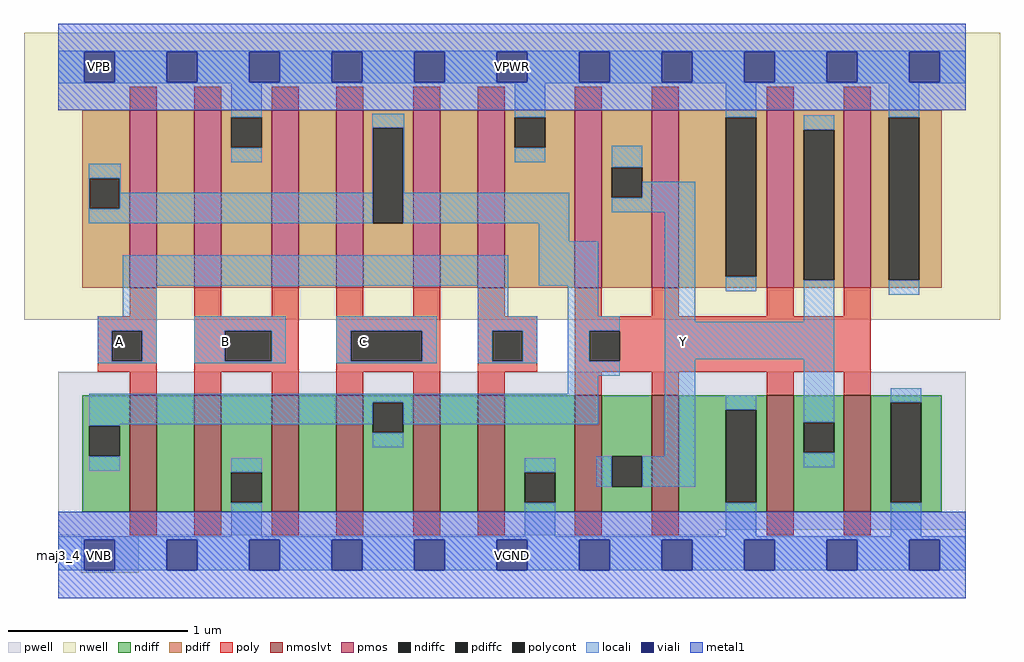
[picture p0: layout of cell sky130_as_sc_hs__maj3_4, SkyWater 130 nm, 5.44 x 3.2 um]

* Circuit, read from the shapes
.subckt sky130_as_sc_hs__maj3_4 VNB VPB VPWR VGND B A C Y
XM1 n1 A n2 VNB sky130_fd_pr__nfet_01v8_lvt w=0.65 l=0.15
XM2 VGND B n1 VNB sky130_fd_pr__nfet_01v8_lvt w=0.65 l=0.15
XM3 n3 B VGND VNB sky130_fd_pr__nfet_01v8_lvt w=0.65 l=0.15
XM4 n2 C n3 VNB sky130_fd_pr__nfet_01v8_lvt w=0.65 l=0.15
XM5 n4 C n2 VNB sky130_fd_pr__nfet_01v8_lvt w=0.65 l=0.15
XM6 VGND A n4 VNB sky130_fd_pr__nfet_01v8_lvt w=0.65 l=0.15
XM7 Y n2 VGND VNB sky130_fd_pr__nfet_01v8_lvt w=0.65 l=0.15 m=4
XM8 n5 A n2 VPB sky130_fd_pr__pfet_01v8 w=0.99 l=0.15
XM9 VPWR B n5 VPB sky130_fd_pr__pfet_01v8 w=0.99 l=0.15
XM10 n6 B VPWR VPB sky130_fd_pr__pfet_01v8 w=0.99 l=0.15
XM11 n2 C n6 VPB sky130_fd_pr__pfet_01v8 w=0.99 l=0.15
XM12 n7 C n2 VPB sky130_fd_pr__pfet_01v8 w=0.99 l=0.15
XM13 VPWR A n7 VPB sky130_fd_pr__pfet_01v8 w=0.99 l=0.15
XM14 Y n2 VPWR VPB sky130_fd_pr__pfet_01v8 w=0.99 l=0.15 m=4
.ends

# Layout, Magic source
magic
tech sky130A
magscale 1 2
<< nwell >>
rect -38 262 1050 582
<< pwell >>
rect 0 28 1012 204
rect 0 22 736 28
rect 790 22 820 24
rect 876 22 906 24
rect 26 -20 90 22
<< pmos >>
rect 80 298 110 496
rect 152 298 182 496
rect 238 298 268 496
rect 310 298 340 496
rect 396 298 426 496
rect 468 298 498 496
rect 576 298 606 496
rect 662 298 692 496
rect 790 298 820 496
rect 876 298 906 496
<< nmoslvt >>
rect 80 48 110 178
rect 152 48 182 178
rect 238 48 268 178
rect 310 48 340 178
rect 396 48 426 178
rect 468 48 498 178
rect 576 48 606 178
rect 662 48 692 178
rect 790 48 820 178
rect 876 48 906 178
<< ndiff >>
rect 27 144 80 178
rect 27 110 35 144
rect 69 110 80 144
rect 27 48 80 110
rect 110 48 152 178
rect 182 92 238 178
rect 182 58 193 92
rect 227 58 238 92
rect 182 48 238 58
rect 268 48 310 178
rect 340 170 396 178
rect 340 136 351 170
rect 385 136 396 170
rect 340 48 396 136
rect 426 48 468 178
rect 498 92 576 178
rect 498 58 520 92
rect 554 58 576 92
rect 498 48 576 58
rect 606 110 662 178
rect 606 76 617 110
rect 651 76 662 110
rect 606 48 662 76
rect 692 162 790 178
rect 692 58 744 162
rect 778 58 790 162
rect 692 48 790 58
rect 820 148 876 178
rect 820 114 831 148
rect 865 114 876 148
rect 820 48 876 114
rect 906 170 985 178
rect 906 58 928 170
rect 962 58 985 170
rect 906 48 985 58
<< pdiff >>
rect 27 420 80 496
rect 27 386 35 420
rect 69 386 80 420
rect 27 298 80 386
rect 110 298 152 496
rect 182 488 238 496
rect 182 454 193 488
rect 227 454 238 488
rect 182 298 238 454
rect 268 298 310 496
rect 340 476 396 496
rect 340 370 351 476
rect 385 370 396 476
rect 340 298 396 370
rect 426 298 468 496
rect 498 488 576 496
rect 498 454 509 488
rect 543 454 576 488
rect 498 298 576 454
rect 606 432 662 496
rect 606 398 617 432
rect 651 398 662 432
rect 606 298 662 398
rect 692 488 790 496
rect 692 310 744 488
rect 778 310 790 488
rect 692 298 790 310
rect 820 474 876 496
rect 820 306 831 474
rect 865 306 876 474
rect 820 298 876 306
rect 906 488 985 496
rect 906 306 926 488
rect 960 306 985 488
rect 906 298 985 306
<< ndiffc >>
rect 35 110 69 144
rect 193 58 227 92
rect 351 136 385 170
rect 520 58 554 92
rect 617 76 651 110
rect 744 58 778 162
rect 831 114 865 148
rect 928 58 962 170
<< pdiffc >>
rect 35 386 69 420
rect 193 454 227 488
rect 351 370 385 476
rect 509 454 543 488
rect 617 398 651 432
rect 744 310 778 488
rect 831 306 865 474
rect 926 306 960 488
<< poly >>
rect 80 496 110 522
rect 152 496 182 522
rect 238 496 268 522
rect 310 496 340 522
rect 396 496 426 522
rect 468 496 498 522
rect 576 496 606 522
rect 662 496 692 522
rect 790 496 820 522
rect 876 496 906 522
rect 80 266 110 298
rect 44 250 110 266
rect 44 216 60 250
rect 94 216 110 250
rect 44 204 110 216
rect 80 178 110 204
rect 152 266 182 298
rect 238 266 268 298
rect 152 250 268 266
rect 152 216 186 250
rect 238 216 268 250
rect 152 204 268 216
rect 152 178 182 204
rect 238 178 268 204
rect 310 266 340 298
rect 396 266 426 298
rect 310 250 426 266
rect 310 216 326 250
rect 406 216 426 250
rect 310 204 426 216
rect 310 178 340 204
rect 396 178 426 204
rect 468 266 498 298
rect 576 266 606 298
rect 662 266 692 298
rect 790 266 820 298
rect 876 266 906 298
rect 468 250 534 266
rect 468 216 484 250
rect 518 216 534 250
rect 468 204 534 216
rect 576 250 906 266
rect 576 216 592 250
rect 626 216 906 250
rect 576 204 906 216
rect 468 178 498 204
rect 576 178 606 204
rect 662 178 692 204
rect 790 178 820 204
rect 876 178 906 204
rect 80 22 110 48
rect 152 22 182 48
rect 238 22 268 48
rect 310 22 340 48
rect 396 22 426 48
rect 468 22 498 48
rect 576 22 606 48
rect 662 22 692 48
rect 790 22 820 48
rect 876 22 906 48
<< polycont >>
rect 60 216 94 250
rect 186 216 238 250
rect 326 216 406 250
rect 484 216 518 250
rect 592 216 626 250
<< locali >>
rect 0 561 1012 562
rect 0 527 29 561
rect 63 527 121 561
rect 155 527 213 561
rect 247 527 305 561
rect 339 527 397 561
rect 431 527 489 561
rect 523 527 581 561
rect 615 527 673 561
rect 707 527 765 561
rect 799 527 857 561
rect 891 527 949 561
rect 983 527 1012 561
rect 0 526 1012 527
rect 193 488 227 526
rect 193 438 227 454
rect 350 476 386 492
rect 34 420 70 436
rect 34 386 35 420
rect 69 404 70 420
rect 350 404 351 476
rect 69 386 351 404
rect 34 370 351 386
rect 385 404 386 476
rect 509 488 543 526
rect 744 488 778 526
rect 509 438 543 454
rect 617 432 651 456
rect 385 370 570 404
rect 651 398 710 416
rect 617 382 710 398
rect 536 350 570 370
rect 72 300 502 334
rect 536 300 602 350
rect 72 266 110 300
rect 468 266 502 300
rect 568 266 602 300
rect 44 250 110 266
rect 44 216 60 250
rect 94 216 110 250
rect 44 214 110 216
rect 152 250 254 266
rect 152 216 186 250
rect 238 216 254 250
rect 152 214 254 216
rect 310 250 422 266
rect 310 216 326 250
rect 406 216 422 250
rect 310 214 422 216
rect 468 250 534 266
rect 468 216 484 250
rect 518 216 534 250
rect 468 214 534 216
rect 568 250 626 266
rect 568 216 592 250
rect 568 200 626 216
rect 676 260 710 382
rect 744 294 778 310
rect 831 474 865 490
rect 831 260 865 306
rect 926 488 960 526
rect 926 290 960 306
rect 676 218 865 260
rect 568 180 602 200
rect 35 170 602 180
rect 35 146 351 170
rect 35 144 69 146
rect 385 146 602 170
rect 351 120 385 136
rect 676 110 710 218
rect 35 94 69 110
rect 193 92 227 108
rect 193 21 227 58
rect 520 92 554 108
rect 600 76 617 110
rect 651 76 710 110
rect 744 162 778 178
rect 520 21 554 58
rect 831 148 865 218
rect 831 98 865 114
rect 928 170 962 186
rect 744 21 778 58
rect 928 21 962 58
rect 0 17 1012 21
rect 0 -17 29 17
rect 63 -17 121 17
rect 155 -17 213 17
rect 247 -17 305 17
rect 339 -17 397 17
rect 431 -17 489 17
rect 523 -17 581 17
rect 615 -17 673 17
rect 707 -17 765 17
rect 799 -17 857 17
rect 891 -17 949 17
rect 983 -17 1012 17
<< viali >>
rect 29 527 63 561
rect 121 527 155 561
rect 213 527 247 561
rect 305 527 339 561
rect 397 527 431 561
rect 489 527 523 561
rect 581 527 615 561
rect 673 527 707 561
rect 765 527 799 561
rect 857 527 891 561
rect 949 527 983 561
rect 29 -17 63 17
rect 121 -17 155 17
rect 213 -17 247 17
rect 305 -17 339 17
rect 397 -17 431 17
rect 489 -17 523 17
rect 581 -17 615 17
rect 673 -17 707 17
rect 765 -17 799 17
rect 857 -17 891 17
rect 949 -17 983 17
<< metal1 >>
rect 0 561 1012 592
rect 0 527 29 561
rect 63 527 121 561
rect 155 527 213 561
rect 247 527 305 561
rect 339 527 397 561
rect 431 527 489 561
rect 523 527 581 561
rect 615 527 673 561
rect 707 527 765 561
rect 799 527 857 561
rect 891 527 949 561
rect 983 527 1012 561
rect 0 496 1012 527
rect 0 17 1012 48
rect 0 -17 29 17
rect 63 -17 121 17
rect 155 -17 213 17
rect 247 -17 305 17
rect 339 -17 397 17
rect 431 -17 489 17
rect 523 -17 581 17
rect 615 -17 673 17
rect 707 -17 765 17
rect 799 -17 857 17
rect 891 -17 949 17
rect 983 -17 1012 17
rect 0 -48 1012 -17
<< labels >>
rlabel comment s 0 0 0 0 4 maj3_4
flabel pwell s 29 -17 63 17 0 FreeSans 200 0 0 0 VNB
port 1 nsew ground bidirectional
flabel pwell s 46 0 46 0 0 FreeSans 200 0 0 0 VNB
flabel nwell s 29 527 63 561 0 FreeSans 200 0 0 0 VPB
port 2 nsew power bidirectional
flabel nwell s 46 544 46 544 0 FreeSans 200 0 0 0 VPB
flabel metal1 s 29 527 63 561 0 FreeSans 200 0 0 0 VPWR
port 3 nsew power bidirectional abutment
flabel metal1 s 29 -17 63 17 0 FreeSans 200 0 0 0 VGND
port 4 nsew ground bidirectional abutment
rlabel metal1 s 0 -48 1012 48 1 VGND
port 4 nsew ground bidirectional abutment
rlabel metal1 s 0 496 1012 592 1 VPWR
port 3 nsew power bidirectional abutment
flabel locali 170 221 204 255 0 FreeSans 200 0 0 0 B
port 5 nsew signal input
flabel polycont 187 238 187 238 0 FreeSans 200 0 0 0 B
flabel locali 51 221 85 255 0 FreeSans 200 0 0 0 A
port 6 nsew signal input
flabel locali 68 238 68 238 0 FreeSans 200 0 0 0 A
flabel locali 323 221 357 255 0 FreeSans 200 0 0 0 C
port 7 nsew signal input
flabel locali 340 238 340 238 0 FreeSans 200 0 0 0 C
flabel locali 680 221 714 255 0 FreeSans 200 0 0 0 Y
port 8 nsew signal output
flabel locali 697 238 697 238 0 FreeSans 200 0 0 0 Y
<< properties >>
string FIXED_BBOX 0 0 1012 544
string GDS_FILE $PDKPATH/libs.ref/sky130_as_sc_hs/gds/sky130_as_sc_hs__maj3_4.gds
string LEFclass CORE
string LEFsite unithd
string LEFsymmetry X Y R90
string MASKHINTS_LVTN 0 -4 1012 214
string MASKHINTS_NSDM 0 -38 1012 204
string MASKHINTS_PSDM 0 272 1012 582
<< end >>
